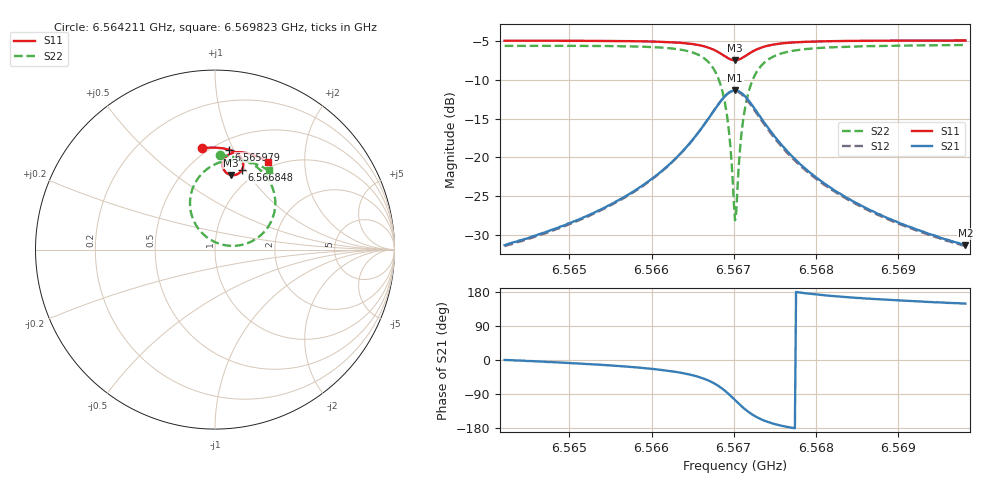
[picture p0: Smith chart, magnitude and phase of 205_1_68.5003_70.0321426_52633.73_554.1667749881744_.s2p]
#  HZ  S  RI  R  50.00
! Rohde & Schwarz Vector Network Analyzer
! Rohde-Schwarz,ZNB20-2Port,1311601062101988,3.16
! Created: UTC 3/20/2024, 4:57:47 PM
! freq[Hz]  re:S11  im:S11  re:S21  im:S21  re:S12  im:S12  re:S22  im:S22
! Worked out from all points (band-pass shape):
!   401 points, 6.564211 GHz to 6.569823 GHz, reference 50 ohm
!   highest |S21| = -11.33 dB at 6.567017 GHz (marker M1); lowest = -31.4 dB at 6.569823 GHz (marker M2)
!   |S21| within 3 dB of the highest: 6.566735 GHz to 6.567298 GHz (562.4 kHz wide, 0.00856 % of centre)
!   lowest |S11| = -7.4 dB at 6.567017 GHz (marker M3), VSWR 2.48, Z = 40.7 + j41.4 ohm
!   |S11| at or under -10 dB: nowhere
!   |S22| runs from -28.1 to -5.5 dB; largest |S21 - S12| = 0.013
!   S11 on the Smith chart (normalised r, x): 6.564211 GHz: 0.46, +0.77; 6.565979 GHz: 0.59, +0.96; 6.566848 GHz: 0.85, +0.96; 6.569823 GHz: 0.92, +1.33
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6.5642108e9  -0.0737 0.5644  0.0271 4.16e-05  0.0267 -0.000433  0.0261 0.526
6.5651508e9  0.00274 0.568  0.0398 -0.00683  0.0393 -0.00747  0.1137 0.5141
6.5659786e9  0.0785 0.5569  0.0656 -0.0276  0.0646 -0.0283  0.2173 0.4706
6.5660908e9  0.0903 0.5529  0.0714 -0.034  0.0704 -0.0348  0.2355 0.4577
6.5663995e9  0.1251 0.5344  0.0919 -0.0653  0.0905 -0.0664  0.2941 0.3956
6.5666099e9  0.1493 0.5067  0.1052 -0.1133  0.1028 -0.1155  0.3322 0.3025
6.5667502e9  0.1576 0.4738  0.0984 -0.1709  0.094 -0.1741  0.3264 0.1926
6.5668485e9  0.1494 0.4431  0.0663 -0.2234  0.0591 -0.2263  0.27 0.0943
6.5668905e9  0.1393 0.4305  0.0411 -0.2444  0.0319 -0.2461  0.2234 0.0565
6.5669326e9  0.125 0.4204  0.00775 -0.26  -0.00294 -0.26  0.1625 0.0296
6.5669607e9  0.1132 0.4161  -0.0181 -0.2656  -0.0294 -0.2639  0.1159 0.0213
6.5670028e9  0.0941 0.4148  -0.0594 -0.2646  -0.0706 -0.2599  0.0429 0.0272
6.5670168e9  0.0875 0.4159  -0.0729 -0.2613  -0.084 -0.2557  0.0191 0.0342
6.5670449e9  0.0754 0.4201  -0.099 -0.2511  -0.1092 -0.2437  -0.0252 0.0552
6.567087e9  0.0597 0.4311  -0.1322 -0.2276  -0.14 -0.218  -0.0798 0.1008
6.5671291e9  0.0491 0.4457  -0.1559 -0.1982  -0.1609 -0.1874  -0.1162 0.1558
6.5671852e9  0.0429 0.4665  -0.1723 -0.1565  -0.1742 -0.1461  -0.1377 0.2304
6.5672553e9  0.0453 0.4899  -0.1748 -0.1107  -0.174 -0.1017  -0.1336 0.3103
6.5675079e9  0.0833 0.5331  -0.1328 -0.0246  -0.1298 -0.0208  -0.0371 0.4538
6.5679568e9  0.144 0.5428  -0.0775 0.0082  -0.0755 0.00943  0.0907 0.4984
6.5688968e9  0.23 0.521  -0.0373 0.0146  -0.0366 0.0149  0.2205 0.4795
6.5698228e9  0.2976 0.4873  -0.0231 0.0139  -0.0227 0.0141  0.2996 0.4417
